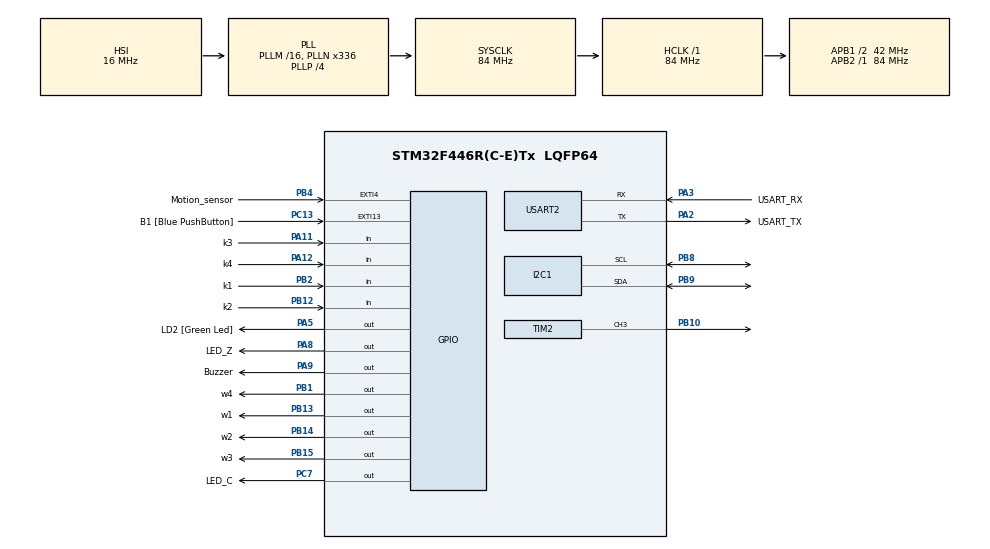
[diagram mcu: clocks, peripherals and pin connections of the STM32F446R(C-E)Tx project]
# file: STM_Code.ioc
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Mcu.Family=STM32F4
Mcu.Name=STM32F446R(C-E)Tx
Mcu.Package=LQFP64
NVIC.EXTI4_IRQn=true\:0\:0\:false\:false\:true\:true\:true\:true
NVIC.PriorityGroup=NVIC_PRIORITYGROUP_0
NVIC.TIM2_IRQn=true\:0\:0\:false\:false\:true\:true\:true\:true
PA11.GPIO_Label=k3
PA11.GPIO_PuPd=GPIO_PULLUP
PA11.Signal=GPIO_Input
PA12.GPIO_Label=k4
PA12.GPIO_PuPd=GPIO_PULLUP
PA12.Signal=GPIO_Input
PA13.GPIO_Label=TMS
PA13.Mode=Serial_Wire
PA13.Signal=SYS_JTMS-SWDIO
PA14.GPIO_Label=TCK
PA14.Mode=Serial_Wire
PA14.Signal=SYS_JTCK-SWCLK
PA2.GPIO_Label=USART_TX
PA2.Mode=Asynchronous
PA2.Signal=USART2_TX
PA3.GPIO_Label=USART_RX
PA3.Mode=Asynchronous
PA3.Signal=USART2_RX
PA5.GPIO_Label=LD2 [Green Led]
PA5.Signal=GPIO_Output
PA8.GPIO_Label=LED_Z
PA8.Signal=GPIO_Output
PA9.GPIO_Label=Buzzer
PA9.Signal=GPIO_Output
PB1.GPIO_Label=w4
PB1.Signal=GPIO_Output
PB10.Signal=S_TIM2_CH3
PB12.GPIO_Label=k2
PB12.GPIO_PuPd=GPIO_PULLUP
PB12.Signal=GPIO_Input
PB13.GPIO_Label=w1
PB13.Signal=GPIO_Output
PB14.GPIO_Label=w2
PB14.Signal=GPIO_Output
PB15.GPIO_Label=w3
PB15.Signal=GPIO_Output
PB2.GPIO_Label=k1
PB2.GPIO_PuPd=GPIO_PULLUP
PB2.Signal=GPIO_Input
PB3.GPIO_Label=SWO
PB3.Signal=SYS_JTDO-SWO
PB4.GPIO_Label=Motion_sensor
PB4.Signal=GPXTI4
PB8.Mode=I2C
PB8.Signal=I2C1_SCL
PB9.Mode=I2C
PB9.Signal=I2C1_SDA
PC13.GPIO_Label=B1 [Blue PushButton]
PC13.GPIO_ModeDefaultEXTI=GPIO_MODE_IT_FALLING
PC13.Signal=GPXTI13
PC14-OSC32_IN.Mode=LSE-External-Oscillator
PC14-OSC32_IN.Signal=RCC_OSC32_IN
PC15-OSC32_OUT.Mode=LSE-External-Oscillator
PC15-OSC32_OUT.Signal=RCC_OSC32_OUT
PC7.GPIO_Label=LED_C
PC7.Signal=GPIO_Output
PH0-OSC_IN.Mode=HSE-External-Oscillator
PH0-OSC_IN.Signal=RCC_OSC_IN
PH1-OSC_OUT.Mode=HSE-External-Oscillator
PH1-OSC_OUT.Signal=RCC_OSC_OUT
ProjectManager.HeapSize=0x200
ProjectManager.StackSize=0x400
ProjectManager.TargetToolchain=CMake
RCC.48MHZClocksFreq_Value=84000000
RCC.AHBFreq_Value=84000000
RCC.APB1CLKDivider=RCC_HCLK_DIV2
RCC.APB1Freq_Value=42000000
RCC.APB1TimFreq_Value=84000000
RCC.APB2Freq_Value=84000000
RCC.APB2TimFreq_Value=84000000
RCC.CortexFreq_Value=84000000
RCC.FLatency-AdvancedSettings=FLASH_LATENCY_2
RCC.HCLKFreq_Value=84000000
RCC.HSE_VALUE=8000000
RCC.HSI_VALUE=16000000
RCC.PLLN=336
RCC.PLLP=RCC_PLLP_DIV4
RCC.SYSCLKFreq_VALUE=84000000
RCC.SYSCLKSource=RCC_SYSCLKSOURCE_PLLCLK
RCC.USBFreq_Value=168000000
RCC.VCOOutputFreq_Value=336000000
SH.S_TIM2_CH3.0=TIM2_CH3,PWM Generation3 CH3
TIM2.Channel-PWM\ Generation3\ CH3=TIM_CHANNEL_3
TIM2.Period=19999
TIM2.Prescaler=83
TIM2.Pulse-PWM\ Generation3\ CH3=1500
USART2.VirtualMode=VM_ASYNC
board=NUCLEO-F446RE

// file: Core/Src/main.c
/* USER CODE BEGIN Header */
/**
  ******************************************************************************
  * @file           : main.c
  * @brief          : Main program body
  ******************************************************************************
  * @attention
  *
  * Copyright (c) 2026 STMicroelectronics.
  * All rights reserved.
  *
  * This software is licensed under terms that can be found in the LICENSE file
  * in the root directory of this software component.
  * If no LICENSE file comes with this software, it is provided AS-IS.
  *
  ******************************************************************************
  */
/* USER CODE END Header */
#include "main.h"

/* USER CODE BEGIN Includes */
#include "ssd1306_conf.h"   // OLED display configuration (must be included first)
#include "ssd1306.h"
#include "ssd1306_fonts.h"
#include <string.h>
#include <stdio.h>
/* USER CODE END Includes */

I2C_HandleTypeDef hi2c1;

TIM_HandleTypeDef htim2;

UART_HandleTypeDef huart2;

void SystemClock_Config(void);
static void MX_GPIO_Init(void);
static void MX_USART2_UART_Init(void);
static void MX_TIM2_Init(void);
static void MX_I2C1_Init(void);

/* USER CODE BEGIN 0 */

/**
 * System state machine enum
 * WAIT_FOR_MOTION: Wait for motion sensor trigger
 * WAIT_FOR_CODE: Wait for 4-digit keypad entry (30 seconds timeout)
 * WAIT_FOR_GESTURE: Wait for gesture recognition via UART (10 seconds timeout)
 * SERVO_ACTION: Execute servo action (door opening/closing)
 * SYSTEM_RESET: System reset state
 */
typedef enum
{
  WAIT_FOR_MOTION,
  WAIT_FOR_CODE,
  WAIT_FOR_GESTURE,
  SERVO_ACTION,
  SYSTEM_RESET
} SystemState;

SystemState current_state = WAIT_FOR_MOTION;

// Volatile flag set by motion sensor interrupt
volatile uint8_t motion_detected = 0;

/**
 * Display text on OLED screen (2 lines)
 * @param line1 - First line text
 * @param line2 - Second line text (NULL if not used)
 */
void DisplayText(const char* line1, const char* line2) {
    ssd1306_Fill(Black);              // Clear buffer (black background)
    ssd1306_SetCursor(5, 20);         // Set cursor at line 1
    ssd1306_WriteString((char*)line1, Font_7x10, White);
    if (line2 != NULL) {
         ssd1306_SetCursor(5, 34);     // Set cursor slightly higher for line 2
        ssd1306_WriteString((char*)line2, Font_6x8, White);
    }
    ssd1306_UpdateScreen();           // Refresh OLED screen via I2C
}

/**
 * Lights and buzzer blink helper
 * @param times - Number of blink cycles
 */
void BlinkLightsAndBuzzer(uint8_t times) {
    for (uint8_t i = 0; i < times; i++) {
        HAL_GPIO_WritePin(LED_Z_GPIO_Port, LED_Z_Pin, GPIO_PIN_SET);
        HAL_GPIO_WritePin(Buzzer_GPIO_Port, Buzzer_Pin, GPIO_PIN_SET);
        HAL_Delay(200);
        HAL_GPIO_WritePin(LED_Z_GPIO_Port, LED_Z_Pin, GPIO_PIN_RESET);
        HAL_GPIO_WritePin(Buzzer_GPIO_Port, Buzzer_Pin, GPIO_PIN_RESET);
        HAL_Delay(200);
    }
}

/**
 * Blink red LED and buzzer helper for failure cases
 */
void BlinkRedAndBuzzer(uint8_t times) {
    for (uint8_t i = 0; i < times; i++) {
        HAL_GPIO_WritePin(LED_C_GPIO_Port, LED_C_Pin, GPIO_PIN_SET);
        HAL_GPIO_WritePin(Buzzer_GPIO_Port, Buzzer_Pin, GPIO_PIN_SET);
        HAL_Delay(200);
        HAL_GPIO_WritePin(LED_C_GPIO_Port, LED_C_Pin, GPIO_PIN_RESET);
        HAL_GPIO_WritePin(Buzzer_GPIO_Port, Buzzer_Pin, GPIO_PIN_RESET);
        HAL_Delay(200);
    }
}

// Servo pulse width limits (in timer ticks / microseconds depending on timer config)
#define SERVO_MIN_PULSE 1000
#define SERVO_MAX_PULSE 2000

/**
 * Convert angle (0-180) to PWM pulse width
 */
static uint16_t AngleToPulse(uint8_t angle)
{
  if (angle > 180) angle = 180;
  return (uint16_t)(SERVO_MIN_PULSE + ((uint32_t)(SERVO_MAX_PULSE - SERVO_MIN_PULSE) * angle) / 180);
}

/**
 * 4x4 Keypad matrix layout
 * Rows: w1-w4 (GPIO outputs)
 * Columns: k1-k4 (GPIO inputs with pull-up)
 */
const char keypad_map[4][4] = {
    {'1', '2', '3', 'A'},
    {'4', '5', '6', 'B'},
    {'7', '8', '9', 'C'},
    {'*', '0', '#', 'D'}
};

/**
 * Read single keypad key using matrix scanning
 * @return ASCII character of pressed key, or '\0' if no key pressed
 */
char ReadKeypad(void)
{
    HAL_GPIO_WritePin(w1_GPIO_Port, w1_Pin, GPIO_PIN_SET);
    HAL_GPIO_WritePin(w2_GPIO_Port, w2_Pin, GPIO_PIN_SET);
    HAL_GPIO_WritePin(w3_GPIO_Port, w3_Pin, GPIO_PIN_SET);
    HAL_GPIO_WritePin(w4_GPIO_Port, w4_Pin, GPIO_PIN_SET);

    for (int row = 0; row < 4; row++) {
        switch (row) {
            case 0: HAL_GPIO_WritePin(w1_GPIO_Port, w1_Pin, GPIO_PIN_RESET); break;
            case 1: HAL_GPIO_WritePin(w2_GPIO_Port, w2_Pin, GPIO_PIN_RESET); break;
            case 2: HAL_GPIO_WritePin(w3_GPIO_Port, w3_Pin, GPIO_PIN_RESET); break;
            case 3: HAL_GPIO_WritePin(w4_GPIO_Port, w4_Pin, GPIO_PIN_RESET); break;
        }

        if (HAL_GPIO_ReadPin(k1_GPIO_Port, k1_Pin) == GPIO_PIN_RESET) {
            return keypad_map[row][0];
        }
        if (HAL_GPIO_ReadPin(k2_GPIO_Port, k2_Pin) == GPIO_PIN_RESET) {
            return keypad_map[row][1];
        }
        if (HAL_GPIO_ReadPin(k3_GPIO_Port, k3_Pin) == GPIO_PIN_RESET) {
            return keypad_map[row][2];
        }
        if (HAL_GPIO_ReadPin(k4_GPIO_Port, k4_Pin) == GPIO_PIN_RESET) {
            return keypad_map[row][3];
        }

        switch (row) {
            case 0: HAL_GPIO_WritePin(w1_GPIO_Port, w1_Pin, GPIO_PIN_SET); break;
            case 1: HAL_GPIO_WritePin(w2_GPIO_Port, w2_Pin, GPIO_PIN_SET); break;
            case 2: HAL_GPIO_WritePin(w3_GPIO_Port, w3_Pin, GPIO_PIN_SET); break;
            case 3: HAL_GPIO_WritePin(w4_GPIO_Port, w4_Pin, GPIO_PIN_SET); break;
        }
    }
    return '\0';
}
/* USER CODE END 0 */

int main(void)
{

  /* MCU Configuration--------------------------------------------------------*/

  /* Reset of all peripherals, Initializes the Flash interface and the Systick. */
  HAL_Init();

  /* Configure the system clock */
  SystemClock_Config();

  /* Initialize all configured peripherals */
  MX_GPIO_Init();
  MX_USART2_UART_Init();
  MX_TIM2_Init();
  MX_I2C1_Init();
  /* USER CODE BEGIN 2 */
  ssd1306_Init();
  HAL_TIM_PWM_Start(&htim2, TIM_CHANNEL_3); // Start PWM signal generation for servo
  DisplayText("System ready", "Waiting for motion...");
  /* USER CODE END 2 */

  /* Infinite loop */
  /* USER CODE BEGIN WHILE */
  while (1)
  {
     switch (current_state) {

      case WAIT_FOR_MOTION:
          if (motion_detected == 1) {
              motion_detected = 0; // reset motion flag
              BlinkLightsAndBuzzer(3);
              DisplayText("Motion detected!", "Enter code...");
              current_state = WAIT_FOR_CODE;
          }
          break;

      case WAIT_FOR_CODE:
      {
        uint32_t start_time = HAL_GetTick();
        uint8_t code_entered = 0;
        char entered_code[5] = {0};
        int char_index = 0;
        char last_key = '\0';
        char screen_buffer[20];

        DisplayText("Enter code", "_ _ _ _");

        while ((HAL_GetTick() - start_time) < 30000) {
          char key = ReadKeypad();

          if (key != '\0' && last_key != key) {
            HAL_Delay(30); // simple debounce
            if (ReadKeypad() == key) {
              last_key = key;

              if (key == '*') {
                char_index = 0;
                memset(entered_code, 0, sizeof(entered_code));
                DisplayText("Code reset", "_ _ _ _");
                HAL_Delay(300);
                DisplayText("Enter code", "_ _ _ _");
                continue;
              }

              if (char_index < 4) {
                entered_code[char_index++] = key;
                entered_code[char_index] = '\0';

                sprintf(screen_buffer, "%c %c %c %c",
                        (entered_code[0] != '\0') ? entered_code[0] : '_',
                        (entered_code[1] != '\0') ? entered_code[1] : '_',
                        (entered_code[2] != '\0') ? entered_code[2] : '_',
                        (entered_code[3] != '\0') ? entered_code[3] : '_');
                DisplayText("Enter code", screen_buffer);

                if (char_index == 4) {
                  if (strcmp(entered_code, "3434") == 0) {
                    BlinkLightsAndBuzzer(3);
                    DisplayText("Code correct!", "Waiting gesture...");
                    current_state = WAIT_FOR_GESTURE;
                    code_entered = 1;
                    break;
                  } else {
                    DisplayText("Wrong code!", "Try again");
                    BlinkRedAndBuzzer(3);
                    HAL_Delay(2000);
                    char_index = 0;
                    memset(entered_code, 0, sizeof(entered_code));
                    DisplayText("Enter code", "_ _ _ _");
                    last_key = '\0';
                  }
                }
              }
            }
          }

          if (code_entered) {
            break;
          }
        }

        if (!code_entered) {
          DisplayText("Timeout", "Try again");
          BlinkRedAndBuzzer(3);
          DisplayText("System ready", "No motion...");
          current_state = WAIT_FOR_MOTION;
        }
      }
      break;

case WAIT_FOR_GESTURE:
      {
          uint8_t uart_buffer[1];
          uint32_t gesture_start = HAL_GetTick();
          DisplayText("Waiting gesture", "Send 'G'");
          uint8_t gesture_received = 0;

          // Flush UART buffer
          // Read and ignore any stale bytes that arrived before gesture waiting started
          uint8_t dummy;
          while (HAL_UART_Receive(&huart2, &dummy, 1, 0) == HAL_OK) {
              // Empty loop - consume bytes until RXNE is cleared
          }

          // Main loop waiting for gesture (10000 ms = 10 seconds)
          while ((HAL_GetTick() - gesture_start) < 10000) {
              if (HAL_UART_Receive(&huart2, uart_buffer, 1, 100) == HAL_OK) {
                  if (uart_buffer[0] == 'G') {
                      BlinkLightsAndBuzzer(3);
                      DisplayText("Gesture detected!", "Performing action...");
                      current_state = SERVO_ACTION;
                      gesture_received = 1;
                      break;
                  }
              }
          }

          if (!gesture_received) {
              DisplayText("No gesture", "Resetting...");
              BlinkRedAndBuzzer(3);
              DisplayText("System ready", "No motion...");
              current_state = WAIT_FOR_MOTION;
          }
      }
      break;

      case SERVO_ACTION:
      {
          // Sweep servo from 0 to 180 degrees
          for (int angle = 0; angle <= 180; angle += 10) {
            __HAL_TIM_SET_COMPARE(&htim2, TIM_CHANNEL_3, AngleToPulse(angle));
            HAL_Delay(150);
          }
          // Hold open for 10 seconds
          HAL_Delay(10000);
          // Sweep back from 180 to 0 degrees
          for (int angle = 180; angle >= 0; angle -= 10) {
            __HAL_TIM_SET_COMPARE(&htim2, TIM_CHANNEL_3, AngleToPulse(angle));
            HAL_Delay(150);
          }
          DisplayText("Action complete", "Resetting...");
          HAL_Delay(2000);
          DisplayText("System ready", "No motion...");
          current_state = WAIT_FOR_MOTION;
      }
      break;

      case SYSTEM_RESET:
      {
          DisplayText("System reset", "Please wait...");
          HAL_Delay(2000);
          DisplayText("System ready", "No motion...");
          current_state = WAIT_FOR_MOTION;
      }
      break;
    }
    /* USER CODE END WHILE */

  }
}

void SystemClock_Config(void)
{
  RCC_OscInitTypeDef RCC_OscInitStruct = {0};
  RCC_ClkInitTypeDef RCC_ClkInitStruct = {0};

  /** Configure the main internal regulator output voltage
  */
  __HAL_RCC_PWR_CLK_ENABLE();
  __HAL_PWR_VOLTAGESCALING_CONFIG(PWR_REGULATOR_VOLTAGE_SCALE3);

  /** Initializes the RCC Oscillators according to the specified parameters
  * in the RCC_OscInitTypeDef structure.
  */
  RCC_OscInitStruct.OscillatorType = RCC_OSCILLATORTYPE_HSI;
  RCC_OscInitStruct.HSIState = RCC_HSI_ON;
  RCC_OscInitStruct.HSICalibrationValue = RCC_HSICALIBRATION_DEFAULT;
  RCC_OscInitStruct.PLL.PLLState = RCC_PLL_ON;
  RCC_OscInitStruct.PLL.PLLSource = RCC_PLLSOURCE_HSI;
  RCC_OscInitStruct.PLL.PLLM = 16;
  RCC_OscInitStruct.PLL.PLLN = 336;
  RCC_OscInitStruct.PLL.PLLP = RCC_PLLP_DIV4;
  RCC_OscInitStruct.PLL.PLLQ = 2;
  RCC_OscInitStruct.PLL.PLLR = 2;
  if (HAL_RCC_OscConfig(&RCC_OscInitStruct) != HAL_OK)
  {
    Error_Handler();
  }

  /** Initializes the CPU, AHB and APB buses clocks
  */
  RCC_ClkInitStruct.ClockType = RCC_CLOCKTYPE_HCLK|RCC_CLOCKTYPE_SYSCLK
                              |RCC_CLOCKTYPE_PCLK1|RCC_CLOCKTYPE_PCLK2;
  RCC_ClkInitStruct.SYSCLKSource = RCC_SYSCLKSOURCE_PLLCLK;
  RCC_ClkInitStruct.AHBCLKDivider = RCC_SYSCLK_DIV1;
  RCC_ClkInitStruct.APB1CLKDivider = RCC_HCLK_DIV2;
  RCC_ClkInitStruct.APB2CLKDivider = RCC_HCLK_DIV1;

  if (HAL_RCC_ClockConfig(&RCC_ClkInitStruct, FLASH_LATENCY_2) != HAL_OK)
  {
    Error_Handler();
  }
}

static void MX_I2C1_Init(void)
{

  hi2c1.Instance = I2C1;
  hi2c1.Init.ClockSpeed = 100000;
  hi2c1.Init.DutyCycle = I2C_DUTYCYCLE_2;
  hi2c1.Init.OwnAddress1 = 0;
  hi2c1.Init.AddressingMode = I2C_ADDRESSINGMODE_7BIT;
  hi2c1.Init.DualAddressMode = I2C_DUALADDRESS_DISABLE;
  hi2c1.Init.OwnAddress2 = 0;
  hi2c1.Init.GeneralCallMode = I2C_GENERALCALL_DISABLE;
  hi2c1.Init.NoStretchMode = I2C_NOSTRETCH_DISABLE;
  if (HAL_I2C_Init(&hi2c1) != HAL_OK)
  {
    Error_Handler();
  }

}

static void MX_TIM2_Init(void)
{

  TIM_MasterConfigTypeDef sMasterConfig = {0};
  TIM_OC_InitTypeDef sConfigOC = {0};

  htim2.Instance = TIM2;
  htim2.Init.Prescaler = 83;
  htim2.Init.CounterMode = TIM_COUNTERMODE_UP;
  htim2.Init.Period = 19999;
  htim2.Init.ClockDivision = TIM_CLOCKDIVISION_DIV1;
  htim2.Init.AutoReloadPreload = TIM_AUTORELOAD_PRELOAD_DISABLE;
  if (HAL_TIM_PWM_Init(&htim2) != HAL_OK)
  {
    Error_Handler();
  }
  sMasterConfig.MasterOutputTrigger = TIM_TRGO_RESET;
  sMasterConfig.MasterSlaveMode = TIM_MASTERSLAVEMODE_DISABLE;
  if (HAL_TIMEx_MasterConfigSynchronization(&htim2, &sMasterConfig) != HAL_OK)
  {
    Error_Handler();
  }
  sConfigOC.OCMode = TIM_OCMODE_PWM1;
  sConfigOC.Pulse = 1500;
  sConfigOC.OCPolarity = TIM_OCPOLARITY_HIGH;
  sConfigOC.OCFastMode = TIM_OCFAST_DISABLE;
  if (HAL_TIM_PWM_ConfigChannel(&htim2, &sConfigOC, TIM_CHANNEL_3) != HAL_OK)
  {
    Error_Handler();
  }
  HAL_TIM_MspPostInit(&htim2);

}

static void MX_USART2_UART_Init(void)
{

  huart2.Instance = USART2;
  huart2.Init.BaudRate = 115200;
  huart2.Init.WordLength = UART_WORDLENGTH_8B;
  huart2.Init.StopBits = UART_STOPBITS_1;
  huart2.Init.Parity = UART_PARITY_NONE;
  huart2.Init.Mode = UART_MODE_TX_RX;
  huart2.Init.HwFlowCtl = UART_HWCONTROL_NONE;
  huart2.Init.OverSampling = UART_OVERSAMPLING_16;
  if (HAL_UART_Init(&huart2) != HAL_OK)
  {
    Error_Handler();
  }

}

static void MX_GPIO_Init(void)
{
  GPIO_InitTypeDef GPIO_InitStruct = {0};

  /* GPIO Ports Clock Enable */
  __HAL_RCC_GPIOC_CLK_ENABLE();
  __HAL_RCC_GPIOH_CLK_ENABLE();
  __HAL_RCC_GPIOA_CLK_ENABLE();
  __HAL_RCC_GPIOB_CLK_ENABLE();

  /*Configure GPIO pin Output Level */
  HAL_GPIO_WritePin(GPIOA, LD2_Pin|LED_Z_Pin|Buzzer_Pin, GPIO_PIN_RESET);

  /*Configure GPIO pin Output Level */
  HAL_GPIO_WritePin(GPIOB, w4_Pin|w1_Pin|w2_Pin|w3_Pin, GPIO_PIN_RESET);

  /*Configure GPIO pin Output Level */
  HAL_GPIO_WritePin(LED_C_GPIO_Port, LED_C_Pin, GPIO_PIN_RESET);

  /*Configure GPIO pin : B1_Pin */
  GPIO_InitStruct.Pin = B1_Pin;
  GPIO_InitStruct.Mode = GPIO_MODE_IT_FALLING;
  GPIO_InitStruct.Pull = GPIO_NOPULL;
  HAL_GPIO_Init(B1_GPIO_Port, &GPIO_InitStruct);

  /*Configure GPIO pins : LD2_Pin LED_Z_Pin Buzzer_Pin */
  GPIO_InitStruct.Pin = LD2_Pin|LED_Z_Pin|Buzzer_Pin;
  GPIO_InitStruct.Mode = GPIO_MODE_OUTPUT_PP;
  GPIO_InitStruct.Pull = GPIO_NOPULL;
  GPIO_InitStruct.Speed = GPIO_SPEED_FREQ_LOW;
  HAL_GPIO_Init(GPIOA, &GPIO_InitStruct);

  /*Configure GPIO pins : w4_Pin w1_Pin w2_Pin w3_Pin */
  GPIO_InitStruct.Pin = w4_Pin|w1_Pin|w2_Pin|w3_Pin;
  GPIO_InitStruct.Mode = GPIO_MODE_OUTPUT_PP;
  GPIO_InitStruct.Pull = GPIO_NOPULL;
  GPIO_InitStruct.Speed = GPIO_SPEED_FREQ_LOW;
  HAL_GPIO_Init(GPIOB, &GPIO_InitStruct);

  /*Configure GPIO pins : k1_Pin k2_Pin */
  GPIO_InitStruct.Pin = k1_Pin|k2_Pin;
  GPIO_InitStruct.Mode = GPIO_MODE_INPUT;
  GPIO_InitStruct.Pull = GPIO_PULLUP;
  HAL_GPIO_Init(GPIOB, &GPIO_InitStruct);

  /*Configure GPIO pin : LED_C_Pin */
  GPIO_InitStruct.Pin = LED_C_Pin;
  GPIO_InitStruct.Mode = GPIO_MODE_OUTPUT_PP;
  GPIO_InitStruct.Pull = GPIO_NOPULL;
  GPIO_InitStruct.Speed = GPIO_SPEED_FREQ_LOW;
  HAL_GPIO_Init(LED_C_GPIO_Port, &GPIO_InitStruct);

  /*Configure GPIO pins : k3_Pin k4_Pin */
  GPIO_InitStruct.Pin = k3_Pin|k4_Pin;
  GPIO_InitStruct.Mode = GPIO_MODE_INPUT;
  GPIO_InitStruct.Pull = GPIO_PULLUP;
  HAL_GPIO_Init(GPIOA, &GPIO_InitStruct);

  /*Configure GPIO pin : Motion_sensor_Pin */
  GPIO_InitStruct.Pin = Motion_sensor_Pin;
  GPIO_InitStruct.Mode = GPIO_MODE_IT_RISING;
  GPIO_InitStruct.Pull = GPIO_NOPULL;
  HAL_GPIO_Init(Motion_sensor_GPIO_Port, &GPIO_InitStruct);

  /* EXTI interrupt init*/
  HAL_NVIC_SetPriority(EXTI4_IRQn, 0, 0);
  HAL_NVIC_EnableIRQ(EXTI4_IRQn);

}

/* USER CODE BEGIN 4 */
void HAL_GPIO_EXTI_Callback(uint16_t GPIO_Pin)
{
  // Check if the interrupt comes from the motion sensor
  if (GPIO_Pin == Motion_sensor_Pin)
  {
    // Set motion detected flag
    motion_detected = 1;
  }
}
/* USER CODE END 4 */

void Error_Handler(void)
{
  __disable_irq();
  while (1)
  {
  }
}
